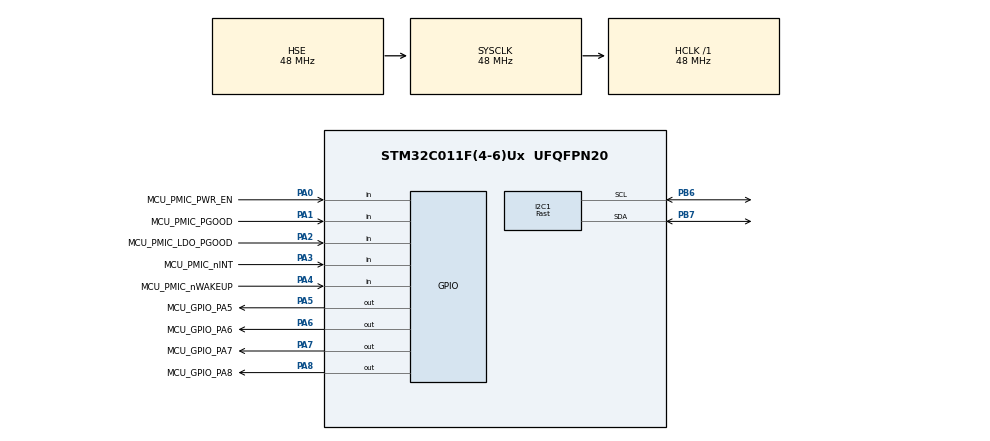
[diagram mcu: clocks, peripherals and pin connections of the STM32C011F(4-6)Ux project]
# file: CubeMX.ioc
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I2C1.I2C_Speed_Mode=I2C_Fast
I2C1.Timing=0x0090194B
Mcu.Family=STM32C0
Mcu.Name=STM32C011F(4-6)Ux
Mcu.Package=UFQFPN20
PA0.GPIO_Label=MCU_PMIC_PWR_EN
PA0.Signal=GPIO_Input
PA1.GPIO_Label=MCU_PMIC_PGOOD
PA1.Signal=GPIO_Input
PA2.GPIO_Label=MCU_PMIC_LDO_PGOOD
PA2.Signal=GPIO_Input
PA3.GPIO_Label=MCU_PMIC_nINT
PA3.GPIO_PuPd=GPIO_PULLUP
PA3.Signal=GPIO_Input
PA4.GPIO_Label=MCU_PMIC_nWAKEUP
PA4.Signal=GPIO_Input
PA5.GPIO_Label=MCU_GPIO_PA5
PA5.Signal=GPIO_Output
PA6.GPIO_Label=MCU_GPIO_PA6
PA6.Signal=GPIO_Output
PA7.GPIO_Label=MCU_GPIO_PA7
PA7.Signal=GPIO_Output
PA8.GPIO_Label=MCU_GPIO_PA8
PA8.Signal=GPIO_Output
PB6.Mode=I2C
PB6.Signal=I2C1_SCL
PB7.Mode=I2C
PB7.Signal=I2C1_SDA
PC14-OSCX_IN\ (PC14).Mode=HSE-External-Clock-Source-REMAPPED
PC14-OSCX_IN\ (PC14).Signal=RCC_OSCX_IN
ProjectManager.HeapSize=0x200
ProjectManager.StackSize=0x400
ProjectManager.TargetToolchain=STM32CubeIDE
RCC.ADCFreq_Value=48000000
RCC.AHBFreq_Value=48000000
RCC.CortexFreq_Value=48000000
RCC.EXTERNAL_CLOCK_VALUE=12288000
RCC.HCLKFreq_Value=48000000
RCC.HSE_VALUE=48000000
RCC.HSISYSCLKDivider=RCC_HSI_DIV1
RCC.HSI_VALUE=48000000
RCC.LSE_VALUE=32768
RCC.SYSCLKFreq_VALUE=48000000
RCC.SYSCLKSource=RCC_SYSCLKSOURCE_HSE
board=custom

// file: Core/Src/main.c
/* USER CODE BEGIN Header */
/**
  ******************************************************************************
  * @file           : main.c
  * @brief          : Main program body
  ******************************************************************************
  * @attention
  *
  * Copyright (c) 2025 STMicroelectronics.
  * All rights reserved.
  *
  * This software is licensed under terms that can be found in the LICENSE file
  * in the root directory of this software component.
  * If no LICENSE file comes with this software, it is provided AS-IS.
  *
  ******************************************************************************
  */
/* USER CODE END Header */
#include "main.h"

/* USER CODE BEGIN PD */
#define MCU_GPIO_PA_X_Pin		MCU_GPIO_PA5_Pin
#define I2C1_SLAVE_ADDR 		(0x24 << 1)
#define REG_ADDR_CHIP_ID		(0x00)
#define REG_ADDR_INT			(0x02)
#define REG_ADDR_PASSWD			(0x0B)
#define REG_ADDR_ENABLE			(0x16)
#define REG_ADDR_SEQ6			(0x1E)
/* USER CODE END PD */

I2C_HandleTypeDef hi2c1;

/* USER CODE BEGIN PV */
uint8_t tx_buffer = 0;
uint8_t rx_buffer = 0;
uint8_t	chip_id = 0;
uint8_t int_status = 0;
uint8_t reg_enable = 0;
uint8_t reg_seq6 = 0;

uint8_t reg_passwd = 0;
/* USER CODE END PV */

void SystemClock_Config(void);
static void MX_GPIO_Init(void);
static void MX_I2C1_Init(void);

int main(void)
{

  /* MCU Configuration--------------------------------------------------------*/

  /* Reset of all peripherals, Initializes the Flash interface and the Systick. */
  HAL_Init();

  /* Configure the system clock */
  SystemClock_Config();

  /* Initialize all configured peripherals */
  MX_GPIO_Init();
  MX_I2C1_Init();
  /* USER CODE BEGIN 2 */

  // Wait for TPS65217's Power-Up Sequence
  HAL_Delay(3000);

  /* USER CODE END 2 */

  /* Infinite loop */
  while (1)
  {

    /* USER CODE BEGIN 3 */

    // 1. Read Chip ID
    HAL_I2C_Mem_Read(&hi2c1, I2C1_SLAVE_ADDR, REG_ADDR_CHIP_ID, 1, &rx_buffer, 1, HAL_MAX_DELAY);
    chip_id = rx_buffer;
	  HAL_Delay(100);

    // 2. Read Enable Register
    HAL_I2C_Mem_Read(&hi2c1, I2C1_SLAVE_ADDR, REG_ADDR_ENABLE, 1, &rx_buffer, 1, HAL_MAX_DELAY);
    reg_enable = rx_buffer;
	  HAL_Delay(100);

    // 3. Disable Rail : LDO1
    // 3-1. Write Password Register
    reg_passwd = REG_ADDR_ENABLE ^ 0x7D;
    tx_buffer = reg_passwd;
    HAL_I2C_Mem_Write(&hi2c1, I2C1_SLAVE_ADDR, REG_ADDR_PASSWD, 1, &tx_buffer, 1, HAL_MAX_DELAY);
    HAL_Delay(50);

    // 3-2. Write Enable Register
    tx_buffer = reg_enable & ~((0x1 << 1) | (0x1 << 4));
    HAL_I2C_Mem_Write(&hi2c1, I2C1_SLAVE_ADDR, REG_ADDR_ENABLE, 1, &tx_buffer, 1, HAL_MAX_DELAY);
    HAL_Delay(50);

    // Wait 1[sec]
    HAL_Delay(1000);

    // 5. Enable Rail : LDO1
    // 5-1. Write Password Register
    reg_passwd = REG_ADDR_ENABLE ^ 0x7D;
    tx_buffer = reg_passwd;
    HAL_I2C_Mem_Write(&hi2c1, I2C1_SLAVE_ADDR, REG_ADDR_PASSWD, 1, &tx_buffer, 1, HAL_MAX_DELAY);
    HAL_Delay(50);

    // 5-2. Write Enable Register
    tx_buffer = reg_enable | ((0x1 << 1) | (0x1 << 4));
    HAL_I2C_Mem_Write(&hi2c1, I2C1_SLAVE_ADDR, REG_ADDR_ENABLE, 1, &tx_buffer, 1, HAL_MAX_DELAY);
    HAL_Delay(50);

    // Wait 1[sec]
    HAL_Delay(1000);
  }
  /* USER CODE END 3 */
}

void SystemClock_Config(void)
{
  RCC_OscInitTypeDef RCC_OscInitStruct = {0};
  RCC_ClkInitTypeDef RCC_ClkInitStruct = {0};

  __HAL_FLASH_SET_LATENCY(FLASH_LATENCY_1);

  /** Initializes the RCC Oscillators according to the specified parameters
  * in the RCC_OscInitTypeDef structure.
  */
  RCC_OscInitStruct.OscillatorType = RCC_OSCILLATORTYPE_HSE;
  RCC_OscInitStruct.HSEState = RCC_HSE_BYPASS;
  if (HAL_RCC_OscConfig(&RCC_OscInitStruct) != HAL_OK)
  {
    Error_Handler();
  }

  /** Initializes the CPU, AHB and APB buses clocks
  */
  RCC_ClkInitStruct.ClockType = RCC_CLOCKTYPE_HCLK|RCC_CLOCKTYPE_SYSCLK
                              |RCC_CLOCKTYPE_PCLK1;
  RCC_ClkInitStruct.SYSCLKSource = RCC_SYSCLKSOURCE_HSE;
  RCC_ClkInitStruct.SYSCLKDivider = RCC_SYSCLK_DIV1;
  RCC_ClkInitStruct.AHBCLKDivider = RCC_HCLK_DIV1;
  RCC_ClkInitStruct.APB1CLKDivider = RCC_APB1_DIV1;

  if (HAL_RCC_ClockConfig(&RCC_ClkInitStruct, FLASH_LATENCY_1) != HAL_OK)
  {
    Error_Handler();
  }
}

static void MX_I2C1_Init(void)
{

  hi2c1.Instance = I2C1;
  hi2c1.Init.Timing = 0x0090194B;
  hi2c1.Init.OwnAddress1 = 0;
  hi2c1.Init.AddressingMode = I2C_ADDRESSINGMODE_7BIT;
  hi2c1.Init.DualAddressMode = I2C_DUALADDRESS_DISABLE;
  hi2c1.Init.OwnAddress2 = 0;
  hi2c1.Init.OwnAddress2Masks = I2C_OA2_NOMASK;
  hi2c1.Init.GeneralCallMode = I2C_GENERALCALL_DISABLE;
  hi2c1.Init.NoStretchMode = I2C_NOSTRETCH_DISABLE;
  if (HAL_I2C_Init(&hi2c1) != HAL_OK)
  {
    Error_Handler();
  }

  /** Configure Analogue filter
  */
  if (HAL_I2CEx_ConfigAnalogFilter(&hi2c1, I2C_ANALOGFILTER_ENABLE) != HAL_OK)
  {
    Error_Handler();
  }

  /** Configure Digital filter
  */
  if (HAL_I2CEx_ConfigDigitalFilter(&hi2c1, 0) != HAL_OK)
  {
    Error_Handler();
  }

}

static void MX_GPIO_Init(void)
{
  GPIO_InitTypeDef GPIO_InitStruct = {0};

  /* GPIO Ports Clock Enable */
  __HAL_RCC_GPIOA_CLK_ENABLE();
  __HAL_RCC_GPIOB_CLK_ENABLE();
  __HAL_RCC_GPIOC_CLK_ENABLE();

  /*Configure GPIO pin Output Level */
  HAL_GPIO_WritePin(GPIOA, MCU_GPIO_PA5_Pin|MCU_GPIO_PA6_Pin|MCU_GPIO_PA7_Pin|MCU_GPIO_PA8_Pin, GPIO_PIN_RESET);

  /*Configure GPIO pins : MCU_PMIC_PWR_EN_Pin MCU_PMIC_PGOOD_Pin MCU_PMIC_LDO_PGOOD_Pin MCU_PMIC_nWAKEUP_Pin */
  GPIO_InitStruct.Pin = MCU_PMIC_PWR_EN_Pin|MCU_PMIC_PGOOD_Pin|MCU_PMIC_LDO_PGOOD_Pin|MCU_PMIC_nWAKEUP_Pin;
  GPIO_InitStruct.Mode = GPIO_MODE_INPUT;
  GPIO_InitStruct.Pull = GPIO_NOPULL;
  HAL_GPIO_Init(GPIOA, &GPIO_InitStruct);

  /*Configure GPIO pin : MCU_PMIC_nINT_Pin */
  GPIO_InitStruct.Pin = MCU_PMIC_nINT_Pin;
  GPIO_InitStruct.Mode = GPIO_MODE_INPUT;
  GPIO_InitStruct.Pull = GPIO_PULLUP;
  HAL_GPIO_Init(MCU_PMIC_nINT_GPIO_Port, &GPIO_InitStruct);

  /*Configure GPIO pins : MCU_GPIO_PA5_Pin MCU_GPIO_PA6_Pin MCU_GPIO_PA7_Pin MCU_GPIO_PA8_Pin */
  GPIO_InitStruct.Pin = MCU_GPIO_PA5_Pin|MCU_GPIO_PA6_Pin|MCU_GPIO_PA7_Pin|MCU_GPIO_PA8_Pin;
  GPIO_InitStruct.Mode = GPIO_MODE_OUTPUT_PP;
  GPIO_InitStruct.Pull = GPIO_NOPULL;
  GPIO_InitStruct.Speed = GPIO_SPEED_FREQ_LOW;
  HAL_GPIO_Init(GPIOA, &GPIO_InitStruct);

}

void Error_Handler(void)
{
  __disable_irq();
  while (1)
  {
  }
}
